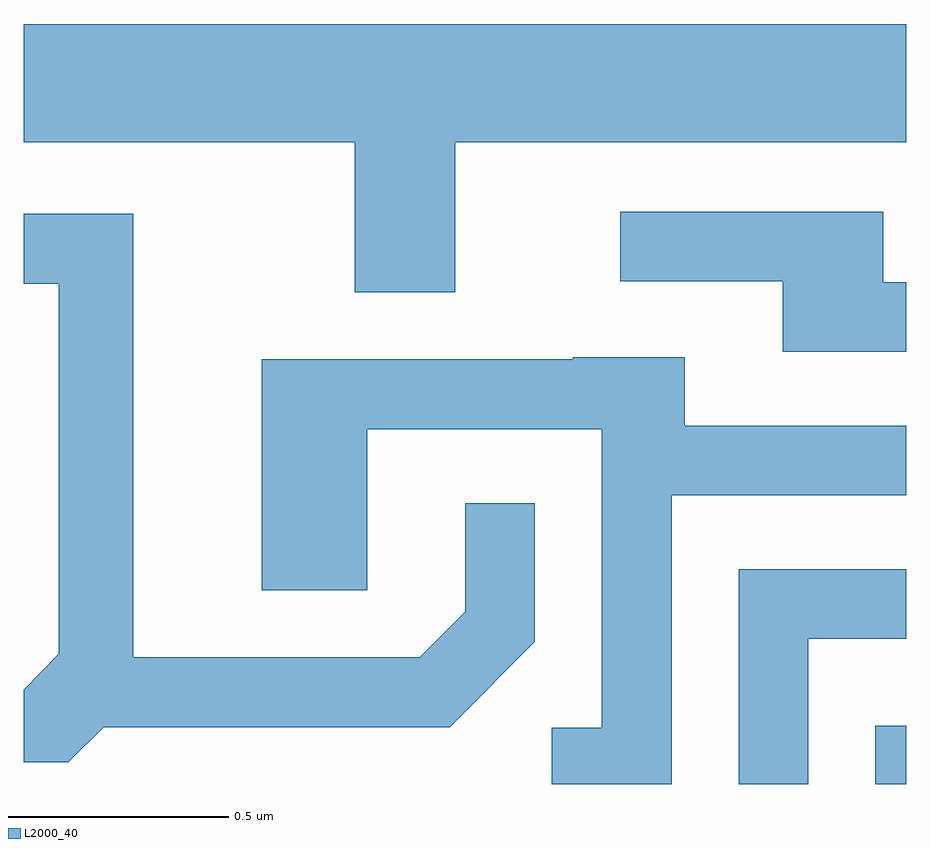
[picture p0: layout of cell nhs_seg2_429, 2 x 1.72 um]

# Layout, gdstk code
import gdstk
lib = gdstk.Library(unit=1e-6, precision=1e-09)
def R(c, l, rs):  # rectangles x0, y0, x1, y1
    for r in rs: c.add(gdstk.rectangle(r[:2], r[2:], *l))
def P(c, l, *ps):  # polygons
    for p in ps: c.add(gdstk.Polygon(p, *l))
L2000_40 = (2000, 40)

nhs_seg2_429 = lib.new_cell('nhs_seg2_429')
R(nhs_seg2_429, L2000_40, [(190.541,995.802,190.611,995.934)])
P(nhs_seg2_429, L2000_40, [(189.589,997.256),(190.611,997.256),(190.611,997.524),(188.611,997.524),(188.611,997.256),(189.361,997.256),(189.361,996.916),(189.589,996.916)],
  [(190.611,996.939),(190.559,996.939),(190.559,997.099),(189.963,997.099),(189.963,996.941),(190.331,996.941),(190.331,996.781),(190.611,996.781)],
  [(188.792,995.931),(189.577,995.931),(189.769,996.124),(189.769,996.438),(189.611,996.438),(189.611,996.192),(189.509,996.089),(188.859,996.089),(188.859,997.094),(188.611,997.094),(188.611,996.936),(188.691,996.936),(188.691,996.097),(188.611,996.016),(188.611,995.851),(188.712,995.851)],
  [(190.079,996.456),(190.611,996.456),(190.611,996.614),(190.109,996.614),(190.109,996.769),(189.855,996.769),(189.855,996.764),(189.151,996.764),(189.151,996.241),(189.389,996.241),(189.389,996.606),(189.921,996.606),(189.921,995.929),(189.808,995.929),(189.808,995.802),(190.079,995.802)],
  [(190.389,996.131),(190.611,996.131),(190.611,996.289),(190.231,996.289),(190.231,995.802),(190.389,995.802)])

lib.write_gds('nhs_seg2_429.gds')
